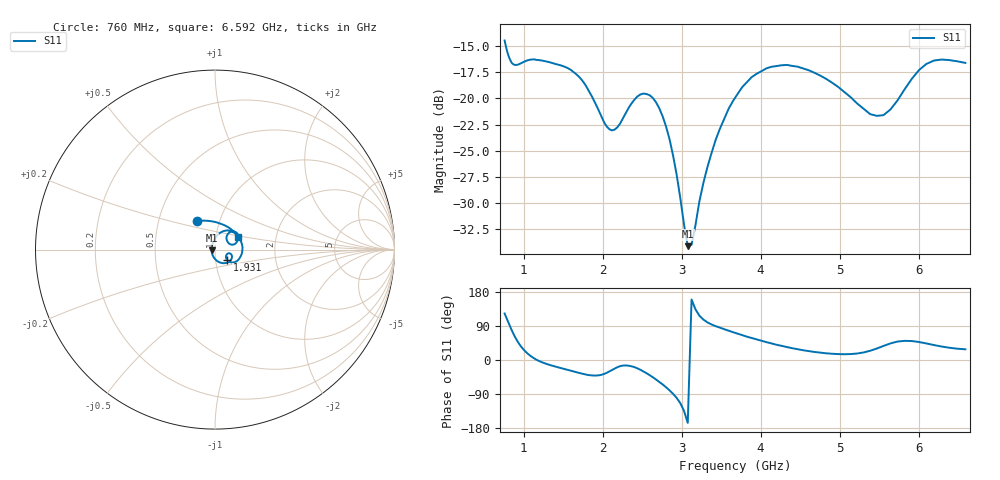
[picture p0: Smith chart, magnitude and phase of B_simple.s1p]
! Design B (simplified): simulated S11 (BoR MoM, no cable), tools/wideband-antenna
# HZ S RI R 50
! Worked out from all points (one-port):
!   140 points, 760 MHz to 6.592 GHz, reference 50 ohm
!   lowest |S11| = -34.1 dB at 3.078 GHz (marker M1), VSWR 1.04, Z = 48.1 - j0.46 ohm
!   |S11| at or under -10 dB: start of sweep to end of sweep
!   S11 on the Smith chart (normalised r, x): 760 MHz: 0.78, +0.26; 1.931 GHz: 1.14, -0.14; 6.592 GHz: 1.28, +0.18
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7.6e8  -0.1023 0.1591
8.606e8  0.0409 0.1407
1.0053e9  0.1342 0.0664
1.2114e9  0.1518 -0.0109
1.5059e9  0.131 -0.0559
1.732e9  0.1002 -0.0717
1.9311e9  0.0689 -0.0595
2.0871e9  0.0618 -0.0355
2.221e9  0.0728 -0.0212
2.438e9  0.0947 -0.0378
2.635e9  0.0707 -0.0717
2.804e9  0.0226 -0.0698
2.8926e9  0.000536 -0.0533
2.9839e9  -0.0136 -0.0305
3.0781e9  -0.0191 -0.00478
3.1263e9  -0.0188 0.00696
3.2755e9  -0.0113 0.0378
3.4319e9  0.000832 0.0636
3.7092e9  0.037 0.0984
3.8862e9  0.0669 0.1072
4.0717e9  0.0944 0.1022
4.4697e9  0.1247 0.0674
5.1407e9  0.0976 0.0274
5.3861e9  0.0767 0.0347
5.5561e9  0.0664 0.0503
5.9125e9  0.0795 0.0951
6.1947e9  0.1172 0.0963
6.592e9  0.1303 0.0699
